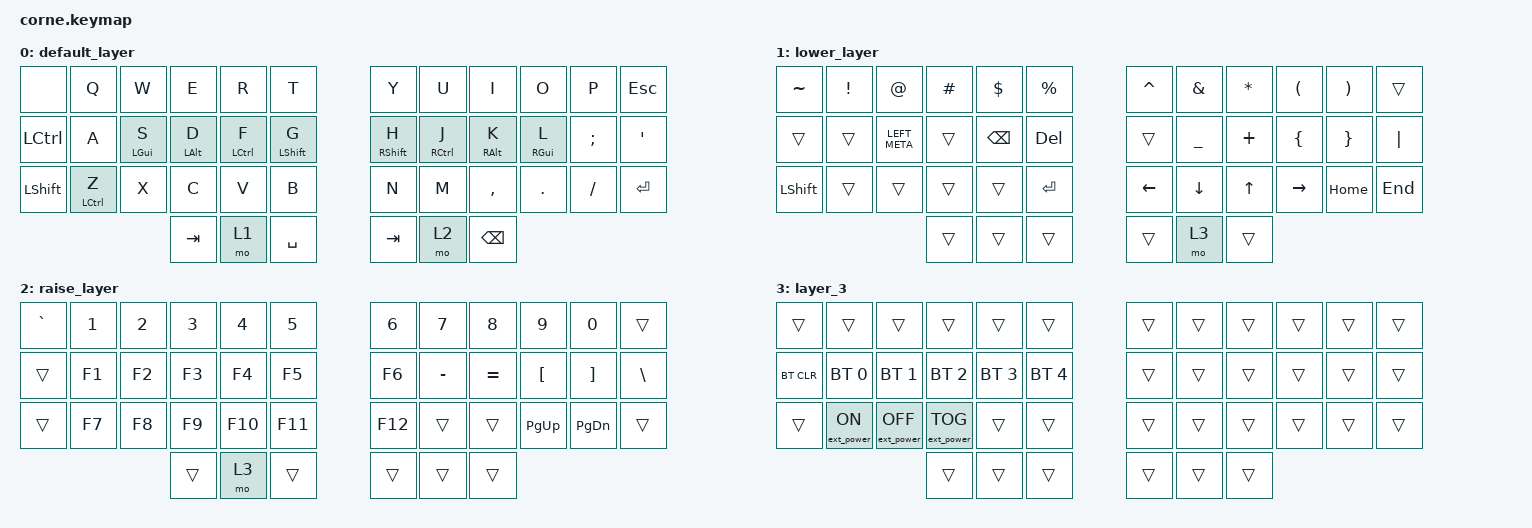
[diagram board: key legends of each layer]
/*
 * Copyright (c) 2020 The ZMK Contributors
 *
 * SPDX-License-Identifier: MIT
 */

#include <behaviors.dtsi>
#include <dt-bindings/zmk/bt.h>
#include <dt-bindings/zmk/ext_power.h>
#include <dt-bindings/zmk/keys.h>

/ {
    keymap {
        compatible = "zmk,keymap";

        default_layer {
            // -----------------------------------------------------------------------------------------
            // |  TAB |  Q  |  W       |  E       |  R       |  T        |   |  Y        |  U        |  I       |  O       |  P  | ESC |
            // | CTRL |  A  |  LGUI S  |  LALT D  | LCTRL F  |  LSHFT G  |   |  RSHFT H  |  RCTRL J  |  RALT K  |  LGUI L  |  ;  |  '   |
            // | SHFT |  Z  |  X  |  C  |  V  |  B  |   |  N  |  M   |  ,  |  .  |  /  | BKSP |
            //                    | GUI | LWR | SPC |   | ENT | RSE  | ALT |

            bindings = <
&none      &kp Q               &kp W       &kp E       &kp R        &kp T          &kp Y        &kp U        &kp I          &kp O       &kp P     &kp ESC
&kp LCTRL  &kp A               &mt LGUI S  &mt LALT D  &mt LCTRL F  &mt LSHFT G    &mt RSHFT H  &mt RCTRL J  &mt RALT K     &mt RGUI L  &kp SEMI  &kp SQT
&kp LSHFT  &mt LEFT_CONTROL Z  &kp X       &kp C       &kp V        &kp B          &kp N        &kp M        &kp COMMA      &kp DOT     &kp FSLH  &kp RETURN
                                           &kp TAB     &mo 1        &kp SPACE      &kp TAB      &mo 2        &kp BACKSPACE
            >;
        };

        lower_layer {
            // -----------------------------------------------------------------------------------------
            // |  TAB |  1  |  2  |  3  |  4  |  5  |   |  6  |  7  |  8  |  9  |  0  | BKSP |
            // | BTCLR| BT1 | BT2 | BT3 | BT4 | BT5 |   | LFT | DWN |  UP | RGT |     |      |
            // | SHFT | EP_ON | EP_OFF | EP_TOG |     |     |   |     |     |     |     |     |      |
            //                    | GUI |     | SPC |   | ENT |     | ALT |

            bindings = <
&kp TILDE  &kp EXCLAMATION  &kp AT         &kp HASH  &kp DOLLAR     &kp PERCENT    &kp CARET  &kp AMPERSAND   &kp ASTERISK  &kp LEFT_PARENTHESIS  &kp RIGHT_PARENTHESIS  &trans
&trans     &trans           &kp LEFT_META  &trans    &kp BACKSPACE  &kp DELETE     &trans     &kp UNDERSCORE  &kp PLUS      &kp LEFT_BRACE        &kp RIGHT_BRACE        &kp PIPE
&kp LSHFT  &trans           &trans         &trans    &trans         &kp ENTER      &kp LEFT   &kp DOWN        &kp UP        &kp RIGHT             &kp HOME               &kp END
                                           &trans    &trans         &trans         &trans     &mo 3           &trans
            >;
        };

        raise_layer {
            // -----------------------------------------------------------------------------------------
            // |  TAB |  !  |  @  |  #  |  $  |  %  |   |  ^  |  &  |  *  |  (  |  )  | BKSP |
            // | CTRL |     |     |     |     |     |   |  -  |  =  |  [  |  ]  |  \  |  `   |
            // | SHFT |     |     |     |     |     |   |  _  |  +  |  {  |  }  | "|" |  ~   |
            //                    | GUI |     | SPC |   | ENT |     | ALT |

            bindings = <
&kp GRAVE  &kp NUMBER_1  &kp NUMBER_2  &kp NUMBER_3  &kp NUMBER_4  &kp NUMBER_5    &kp NUMBER_6  &kp NUMBER_7  &kp NUMBER_8  &kp NUMBER_9      &kp NUMBER_0       &trans
&trans     &kp F1        &kp F2        &kp F3        &kp F4        &kp F5          &kp F6        &kp MINUS     &kp EQUAL     &kp LEFT_BRACKET  &kp RIGHT_BRACKET  &kp BACKSLASH
&trans     &kp F7        &kp F8        &kp F9        &kp F10       &kp F11         &kp F12       &trans        &trans        &kp PAGE_UP       &kp PAGE_DOWN      &trans
                                       &trans        &mo 3         &trans          &trans        &trans        &trans
            >;
        };

        layer_3 {
            bindings = <
&trans      &trans            &trans             &trans             &trans        &trans          &trans  &trans  &trans  &trans  &trans  &trans
&bt BT_CLR  &bt BT_SEL 0      &bt BT_SEL 1       &bt BT_SEL 2       &bt BT_SEL 3  &bt BT_SEL 4    &trans  &trans  &trans  &trans  &trans  &trans
&trans      &ext_power EP_ON  &ext_power EP_OFF  &ext_power EP_TOG  &trans        &trans          &trans  &trans  &trans  &trans  &trans  &trans
                                                 &trans             &trans        &trans          &trans  &trans  &trans
            >;
        };
    };
};

&mt {
    tapping-term-ms = <300>; // default is 200. https://zmk.dev/docs/keymaps/behaviors/hold-tap#mod-tap
    flavor = "balanced";
};
